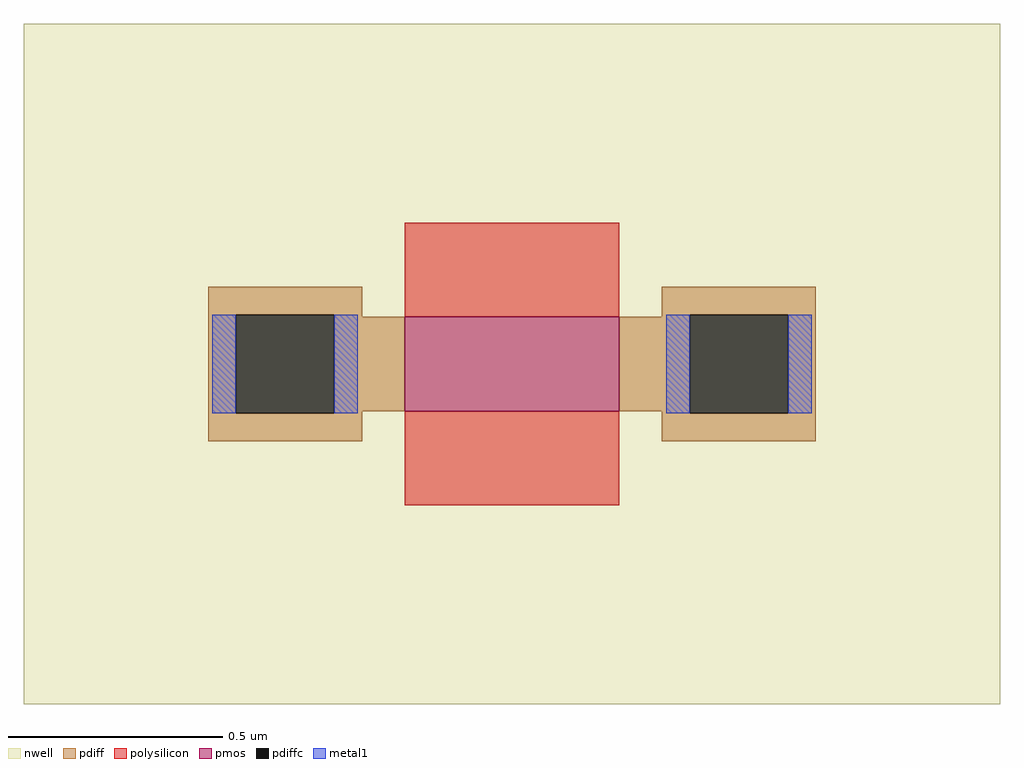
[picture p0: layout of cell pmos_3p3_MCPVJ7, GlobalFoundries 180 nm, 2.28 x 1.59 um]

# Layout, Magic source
magic
tech gf180mcuC
magscale 1 10
<< nwell >>
rect -228 -159 228 159
<< pmos >>
rect -50 -22 50 22
<< pdiff >>
rect -142 23 -70 36
rect -142 -23 -129 23
rect -83 22 -70 23
rect 70 23 142 36
rect 70 22 83 23
rect -83 -22 -50 22
rect 50 -22 83 22
rect -83 -23 -70 -22
rect -142 -36 -70 -23
rect 70 -23 83 -22
rect 129 -23 142 23
rect 70 -36 142 -23
<< pdiffc >>
rect -129 -23 -83 23
rect 83 -23 129 23
<< polysilicon >>
rect -50 22 50 66
rect -50 -66 50 -22
<< metal1 >>
rect -140 -23 -129 23
rect -83 -23 -72 23
rect 72 -23 83 23
rect 129 -23 140 23
<< properties >>
string gencell pmos_3p3
string library gf180mcu
string parameters w 0.220 l 0.50 m 1 nf 1 diffcov 100 polycov 100 guard 0 glc 0 grc 0 gtc 0 gbc 0 tbcov 100 rlcov 100 topc 0 botc 0 poverlap 0 doverlap 1 lmin 0.28 wmin 0.22 full_metal 0 compatible {pmos_3p3 pmos_6p0}
<< end >>
